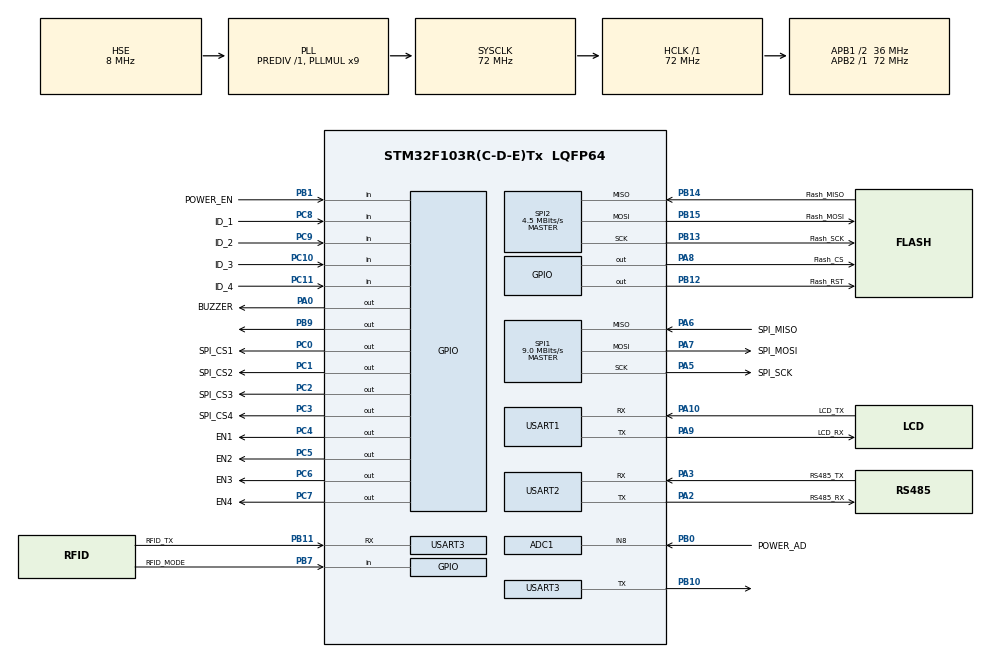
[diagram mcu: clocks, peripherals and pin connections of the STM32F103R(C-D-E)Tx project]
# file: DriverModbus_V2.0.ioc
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ADC1.Channel-0\#ChannelRegularConversion=ADC_CHANNEL_8
ADC1.ContinuousConvMode=ENABLE
ADC1.NbrOfConversionFlag=1
ADC1.Rank-0\#ChannelRegularConversion=1
ADC1.SamplingTime-0\#ChannelRegularConversion=ADC_SAMPLETIME_13CYCLES_5
ADC1.master=1
Dma.ADC1.3.Direction=DMA_PERIPH_TO_MEMORY
Dma.ADC1.3.Instance=DMA1_Channel1
Dma.ADC1.3.MemDataAlignment=DMA_MDATAALIGN_HALFWORD
Dma.ADC1.3.MemInc=DMA_MINC_ENABLE
Dma.ADC1.3.Mode=DMA_CIRCULAR
Dma.ADC1.3.PeriphDataAlignment=DMA_PDATAALIGN_HALFWORD
Dma.ADC1.3.PeriphInc=DMA_PINC_DISABLE
Dma.ADC1.3.Priority=DMA_PRIORITY_LOW
Dma.Request0=USART1_RX
Dma.Request1=USART1_TX
Dma.Request2=USART3_RX
Dma.Request3=ADC1
Dma.USART1_RX.0.Direction=DMA_PERIPH_TO_MEMORY
Dma.USART1_RX.0.Instance=DMA1_Channel5
Dma.USART1_RX.0.MemDataAlignment=DMA_MDATAALIGN_BYTE
Dma.USART1_RX.0.MemInc=DMA_MINC_ENABLE
Dma.USART1_RX.0.Mode=DMA_NORMAL
Dma.USART1_RX.0.PeriphDataAlignment=DMA_PDATAALIGN_BYTE
Dma.USART1_RX.0.PeriphInc=DMA_PINC_DISABLE
Dma.USART1_RX.0.Priority=DMA_PRIORITY_LOW
Dma.USART1_TX.1.Direction=DMA_MEMORY_TO_PERIPH
Dma.USART1_TX.1.Instance=DMA1_Channel4
Dma.USART1_TX.1.MemDataAlignment=DMA_MDATAALIGN_BYTE
Dma.USART1_TX.1.MemInc=DMA_MINC_ENABLE
Dma.USART1_TX.1.Mode=DMA_NORMAL
Dma.USART1_TX.1.PeriphDataAlignment=DMA_PDATAALIGN_BYTE
Dma.USART1_TX.1.PeriphInc=DMA_PINC_DISABLE
Dma.USART1_TX.1.Priority=DMA_PRIORITY_LOW
Dma.USART3_RX.2.Direction=DMA_PERIPH_TO_MEMORY
Dma.USART3_RX.2.Instance=DMA1_Channel3
Dma.USART3_RX.2.MemDataAlignment=DMA_MDATAALIGN_BYTE
Dma.USART3_RX.2.MemInc=DMA_MINC_ENABLE
Dma.USART3_RX.2.Mode=DMA_NORMAL
Dma.USART3_RX.2.PeriphDataAlignment=DMA_PDATAALIGN_BYTE
Dma.USART3_RX.2.PeriphInc=DMA_PINC_DISABLE
Dma.USART3_RX.2.Priority=DMA_PRIORITY_LOW
Mcu.Family=STM32F1
Mcu.Name=STM32F103R(C-D-E)Tx
Mcu.Package=LQFP64
NVIC.ADC1_2_IRQn=true\:8\:0\:true\:false\:true\:true\:true\:true
NVIC.DMA1_Channel1_IRQn=true\:8\:0\:true\:false\:true\:false\:true\:true
NVIC.DMA1_Channel3_IRQn=true\:2\:0\:true\:false\:true\:false\:true\:true
NVIC.DMA1_Channel4_IRQn=true\:1\:0\:true\:false\:true\:false\:true\:true
NVIC.DMA1_Channel5_IRQn=true\:1\:0\:true\:false\:true\:false\:true\:true
NVIC.PriorityGroup=NVIC_PRIORITYGROUP_4
NVIC.TIM7_IRQn=true\:6\:0\:true\:false\:true\:true\:true\:true
NVIC.USART1_IRQn=true\:1\:0\:true\:false\:true\:true\:true\:true
NVIC.USART2_IRQn=true\:5\:0\:true\:false\:true\:true\:true\:true
NVIC.USART3_IRQn=true\:2\:0\:true\:false\:true\:true\:true\:true
PA0-WKUP.GPIO_Label=BUZZER
PA0-WKUP.Signal=GPIO_Output
PA10.GPIO_Label=LCD_TX
PA10.Mode=Asynchronous
PA10.Signal=USART1_RX
PA13.Mode=Serial_Wire
PA13.Signal=SYS_JTMS-SWDIO
PA14.Mode=Serial_Wire
PA14.Signal=SYS_JTCK-SWCLK
PA2.GPIO_Label=RS485_RX
PA2.Mode=Asynchronous
PA2.Signal=USART2_TX
PA3.GPIO_Label=RS485_TX
PA3.Mode=Asynchronous
PA3.Signal=USART2_RX
PA5.GPIO_Label=SPI_SCK
PA5.Mode=Full_Duplex_Master
PA5.Signal=SPI1_SCK
PA6.GPIO_Label=SPI_MISO
PA6.Mode=Full_Duplex_Master
PA6.Signal=SPI1_MISO
PA7.GPIO_Label=SPI_MOSI
PA7.Mode=Full_Duplex_Master
PA7.Signal=SPI1_MOSI
PA8.GPIO_Label=Flash_CS
PA8.Signal=GPIO_Output
PA9.GPIO_Label=LCD_RX
PA9.Mode=Asynchronous
PA9.Signal=USART1_TX
PB0.GPIO_Label=POWER_AD
PB0.Signal=ADCx_IN8
PB1.GPIO_Label=POWER_EN
PB1.Signal=GPIO_Input
PB10.GPIO_Mode=GPIO_MODE_AF_PP
PB10.Mode=Asynchronous
PB10.Signal=USART3_TX
PB11.GPIO_Label=RFID_TX
PB11.Mode=Asynchronous
PB11.Signal=USART3_RX
PB12.GPIO_Label=Flash_RST
PB12.Signal=GPIO_Output
PB13.GPIO_Label=Flash_SCK
PB13.Mode=Full_Duplex_Master
PB13.Signal=SPI2_SCK
PB14.GPIO_Label=Flash_MISO
PB14.Mode=Full_Duplex_Master
PB14.Signal=SPI2_MISO
PB15.GPIO_Label=Flash_MOSI
PB15.Mode=Full_Duplex_Master
PB15.Signal=SPI2_MOSI
PB7.GPIO_Label=RFID_MODE
PB7.Signal=GPIO_Input
PB9.Signal=GPIO_Output
PC0.GPIO_Label=SPI_CS1
PC0.Signal=GPIO_Output
PC1.GPIO_Label=SPI_CS2
PC1.Signal=GPIO_Output
PC10.GPIO_Label=ID_3
PC10.Signal=GPIO_Input
PC11.GPIO_Label=ID_4
PC11.Signal=GPIO_Input
PC2.GPIO_Label=SPI_CS3
PC2.Signal=GPIO_Output
PC3.GPIO_Label=SPI_CS4
PC3.Signal=GPIO_Output
PC4.GPIO_Label=EN1
PC4.Signal=GPIO_Output
PC5.GPIO_Label=EN2
PC5.Signal=GPIO_Output
PC6.GPIO_Label=EN3
PC6.Signal=GPIO_Output
PC7.GPIO_Label=EN4
PC7.Signal=GPIO_Output
PC8.GPIO_Label=ID_1
PC8.Signal=GPIO_Input
PC9.GPIO_Label=ID_2
PC9.Signal=GPIO_Input
PD0-OSC_IN.Mode=HSE-External-Oscillator
PD0-OSC_IN.Signal=RCC_OSC_IN
PD1-OSC_OUT.Mode=HSE-External-Oscillator
PD1-OSC_OUT.Signal=RCC_OSC_OUT
ProjectManager.HeapSize=0x200
ProjectManager.StackSize=0x400
ProjectManager.TargetToolchain=MDK-ARM V5.32
RCC.ADCPresc=RCC_ADCPCLK2_DIV6
RCC.AHBFreq_Value=72000000
RCC.APB1CLKDivider=RCC_HCLK_DIV2
RCC.APB1Freq_Value=36000000
RCC.APB1TimFreq_Value=72000000
RCC.APB2Freq_Value=72000000
RCC.APB2TimFreq_Value=72000000
RCC.HCLKFreq_Value=72000000
RCC.PLLMUL=RCC_PLL_MUL9
RCC.PLLSourceVirtual=RCC_PLLSOURCE_HSE
RCC.SYSCLKFreq_VALUE=72000000
RCC.SYSCLKSource=RCC_SYSCLKSOURCE_PLLCLK
RCC.USBFreq_Value=72000000
SH.ADCx_IN8.0=ADC1_IN8,IN8
SPI1.BaudRatePrescaler=SPI_BAUDRATEPRESCALER_8
SPI1.CalculateBaudRate=9.0 MBits/s
SPI1.Direction=SPI_DIRECTION_2LINES
SPI1.Mode=SPI_MODE_MASTER
SPI1.VirtualType=VM_MASTER
SPI2.BaudRatePrescaler=SPI_BAUDRATEPRESCALER_8
SPI2.CLKPhase=SPI_PHASE_2EDGE
SPI2.CLKPolarity=SPI_POLARITY_HIGH
SPI2.CalculateBaudRate=4.5 MBits/s
SPI2.Direction=SPI_DIRECTION_2LINES
SPI2.Mode=SPI_MODE_MASTER
SPI2.VirtualType=VM_MASTER
TIM7.AutoReloadPreload=TIM_AUTORELOAD_PRELOAD_ENABLE
TIM7.Period=50000-1
TIM7.Prescaler=72-1
USART1.VirtualMode=VM_ASYNC
USART2.VirtualMode=VM_ASYNC
USART3.BaudRate=9600
USART3.Mode=MODE_RX
USART3.VirtualMode=VM_ASYNC
VP_TIM7_VS_ClockSourceINT.Mode=Enable_Timer
board=custom

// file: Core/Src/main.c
/* USER CODE BEGIN Header */
/**
  ******************************************************************************
  * @file           : main.c
  * @brief          : Main program body
  ******************************************************************************
  * @attention
  *
  * Copyright (c) 2026 STMicroelectronics.
  * All rights reserved.
  *
  * This software is licensed under terms that can be found in the LICENSE file
  * in the root directory of this software component.
  * If no LICENSE file comes with this software, it is provided AS-IS.
  *
  ******************************************************************************
  */
/* USER CODE END Header */
#include "main.h"
#include "adc.h"
#include "dma.h"
#include "spi.h"
#include "tim.h"
#include "usart.h"
#include "gpio.h"

/* USER CODE BEGIN PV */
char 			g_str[50]={0};				/*  */
char  		g_str_name[100]={0};	/*  */
uint8_t 	g_SaveMethodNameFlag = USER_FALSE;  /*  */
/* USER CODE END PV */

void SystemClock_Config(void);

int main(void)
{

  /* MCU Configuration--------------------------------------------------------*/

  /* Reset of all peripherals, Initializes the Flash interface and the Systick. */
  HAL_Init();

  /* Configure the system clock */
  SystemClock_Config();

  /* Initialize all configured peripherals */
  MX_GPIO_Init();
  MX_DMA_Init();
  MX_SPI1_Init();
  MX_USART1_UART_Init();
  MX_USART2_UART_Init();
  MX_ADC1_Init();
  MX_USART3_UART_Init();
  MX_TIM7_Init();
  MX_SPI2_Init();
  /* USER CODE BEGIN 2 */
  SysTickDelay_ms(3000);//WAIT
  System_Init();
  PumpTube_Init();
  Flag_Init();
  TFTDisplay_SwitchScreen(0);
  TFTDisplay_SetTextValue(0,60,"V1.5.1");	//VESION

  Beep_M();

//	TMC5240_MoveTo(1,51200);
//	TMC5240_MoveTo(2,51200);
//	TMC5240_MoveTo(3,51200);
//	TMC5240_MoveTo(4,51200);

  /* USER CODE END 2 */

  /* Infinite loop */
  /* USER CODE BEGIN WHILE */
  while (1)
  {
    if (g_DisPlayRingBuff.size > 0)
    {
      if(RingBuff_Getout(&g_DisPlayRingBuff, g_TFTPendingCMD.ReadOutArry, &g_TFTPendingCMD.CMDLen) == USER_FALSE)
        g_TFTPendingCMD.PendingCMDFlag = USER_FALSE;
      else
        g_TFTPendingCMD.PendingCMDFlag = USER_TRUE;
    }

    if(g_TFTPendingCMD.PendingCMDFlag == USER_TRUE)
    {
      TFT_DecodeCommand(g_TFTPendingCMD.ReadOutArry);

      if(g_NowStatus.EmergencyStop == USER_TRUE)
        g_NowStatus.EmergencyStop = USER_FALSE;
    }

    PumpTube_Service();
    /* USER CODE END WHILE */

  }
}

void SystemClock_Config(void)
{
  RCC_OscInitTypeDef RCC_OscInitStruct = {0};
  RCC_ClkInitTypeDef RCC_ClkInitStruct = {0};
  RCC_PeriphCLKInitTypeDef PeriphClkInit = {0};

  /** Initializes the RCC Oscillators according to the specified parameters
  * in the RCC_OscInitTypeDef structure.
  */
  RCC_OscInitStruct.OscillatorType = RCC_OSCILLATORTYPE_HSE;
  RCC_OscInitStruct.HSEState = RCC_HSE_ON;
  RCC_OscInitStruct.HSEPredivValue = RCC_HSE_PREDIV_DIV1;
  RCC_OscInitStruct.HSIState = RCC_HSI_ON;
  RCC_OscInitStruct.PLL.PLLState = RCC_PLL_ON;
  RCC_OscInitStruct.PLL.PLLSource = RCC_PLLSOURCE_HSE;
  RCC_OscInitStruct.PLL.PLLMUL = RCC_PLL_MUL9;
  if (HAL_RCC_OscConfig(&RCC_OscInitStruct) != HAL_OK)
  {
    Error_Handler();
  }

  /** Initializes the CPU, AHB and APB buses clocks
  */
  RCC_ClkInitStruct.ClockType = RCC_CLOCKTYPE_HCLK|RCC_CLOCKTYPE_SYSCLK
                              |RCC_CLOCKTYPE_PCLK1|RCC_CLOCKTYPE_PCLK2;
  RCC_ClkInitStruct.SYSCLKSource = RCC_SYSCLKSOURCE_PLLCLK;
  RCC_ClkInitStruct.AHBCLKDivider = RCC_SYSCLK_DIV1;
  RCC_ClkInitStruct.APB1CLKDivider = RCC_HCLK_DIV2;
  RCC_ClkInitStruct.APB2CLKDivider = RCC_HCLK_DIV1;

  if (HAL_RCC_ClockConfig(&RCC_ClkInitStruct, FLASH_LATENCY_2) != HAL_OK)
  {
    Error_Handler();
  }
  PeriphClkInit.PeriphClockSelection = RCC_PERIPHCLK_ADC;
  PeriphClkInit.AdcClockSelection = RCC_ADCPCLK2_DIV6;
  if (HAL_RCCEx_PeriphCLKConfig(&PeriphClkInit) != HAL_OK)
  {
    Error_Handler();
  }
}

void Error_Handler(void)
{
  __disable_irq();
  while (1)
  {
  }
}
